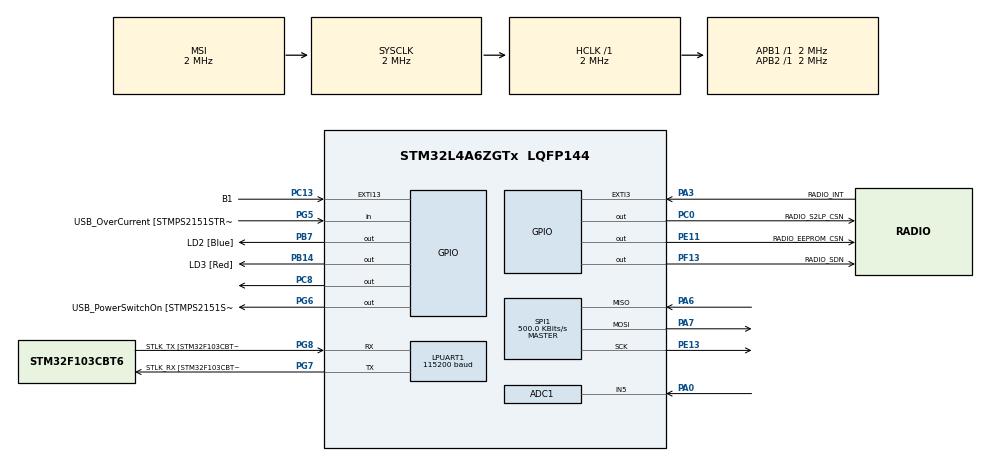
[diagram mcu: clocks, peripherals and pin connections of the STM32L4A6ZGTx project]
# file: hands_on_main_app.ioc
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ADC1.Channel-0\#ChannelRegularConversion=ADC_CHANNEL_5
ADC1.ClockPrescaler=ADC_CLOCK_ASYNC_DIV10
ADC1.DMAContinuousRequests=ENABLE
ADC1.ExternalTrigConv=ADC_EXTERNALTRIG_T3_TRGO
ADC1.NbrOfConversionFlag=1
ADC1.OffsetNumber-0\#ChannelRegularConversion=ADC_OFFSET_NONE
ADC1.Rank-0\#ChannelRegularConversion=1
ADC1.Resolution=ADC_RESOLUTION_12B
ADC1.SamplingTime-0\#ChannelRegularConversion=ADC_SAMPLETIME_2CYCLES_5
ADC1.master=1
AES.Data\ encryption\ types\ list=AESCBC
AES.DataType=CRYP_DATATYPE_8B
AES.KeySize=CRYP_KEYSIZE_128B
AES.KeyWriteFlag=CRYP_KEY_WRITE_DISABLE
AES.OperatingMode=CRYP_ALGOMODE_ENCRYPT
AES.pKey=00 00 00 00 00 00 00 00 00 00 00 00 00 00 00 00
Dma.ADC1.0.Direction=DMA_PERIPH_TO_MEMORY
Dma.ADC1.0.Instance=DMA1_Channel1
Dma.ADC1.0.MemDataAlignment=DMA_MDATAALIGN_HALFWORD
Dma.ADC1.0.MemInc=DMA_MINC_ENABLE
Dma.ADC1.0.Mode=DMA_CIRCULAR
Dma.ADC1.0.PeriphDataAlignment=DMA_PDATAALIGN_HALFWORD
Dma.ADC1.0.PeriphInc=DMA_PINC_DISABLE
Dma.ADC1.0.Priority=DMA_PRIORITY_LOW
Dma.Request0=ADC1
LPUART1.AutoBaudRateEnableParam=UART_ADVFEATURE_AUTOBAUDRATE_DISABLE
LPUART1.BaudRate=115200
LPUART1.DMADisableonRxErrorParam=UART_ADVFEATURE_DMA_ENABLEONRXERROR
LPUART1.DataInvertParam=UART_ADVFEATURE_DATAINV_DISABLE
LPUART1.MSBFirstParam=UART_ADVFEATURE_MSBFIRST_DISABLE
LPUART1.Mode=UART_MODE_TX_RX
LPUART1.OneBitSampling=UART_ONE_BIT_SAMPLE_DISABLE
LPUART1.OverrunDisableParam=UART_ADVFEATURE_OVERRUN_ENABLE
LPUART1.Parity=UART_PARITY_NONE
LPUART1.RxPinLevelInvertParam=UART_ADVFEATURE_RXINV_DISABLE
LPUART1.StopBits=UART_STOPBITS_1
LPUART1.SwapParam=UART_ADVFEATURE_SWAP_DISABLE
LPUART1.TxPinLevelInvertParam=UART_ADVFEATURE_TXINV_DISABLE
LPUART1.WordLength=UART_WORDLENGTH_8B
Mcu.Family=STM32L4
Mcu.Name=STM32L4A6ZGTx
Mcu.Package=LQFP144
NVIC.AES_IRQn=true\:0\:0\:false\:false\:true\:true\:true\:true
NVIC.DMA1_Channel1_IRQn=true\:1\:0\:true\:false\:true\:false\:true\:true
NVIC.EXTI15_10_IRQn=true\:0\:0\:false\:false\:true\:true\:true\:true
NVIC.EXTI3_IRQn=true\:0\:0\:false\:false\:true\:true\:true\:true
NVIC.PriorityGroup=NVIC_PRIORITYGROUP_4
NVIC.TIM3_IRQn=true\:0\:0\:true\:false\:true\:true\:true\:true
PA0.Signal=ADCx_IN5
PA10.GPIO_Label=USB_ID
PA10.Signal=USB_OTG_FS_ID
PA11.GPIO_Label=USB_DM
PA11.Signal=USB_OTG_FS_DM
PA12.GPIO_Label=USB_DP
PA12.Signal=USB_OTG_FS_DP
PA13\ (JTMS/SWDIO).GPIO_Label=TMS
PA13\ (JTMS/SWDIO).Mode=Trace_Asynchronous_SW
PA13\ (JTMS/SWDIO).Signal=SYS_JTMS-SWDIO
PA14\ (JTCK/SWCLK).GPIO_Label=TCK
PA14\ (JTCK/SWCLK).Mode=Trace_Asynchronous_SW
PA14\ (JTCK/SWCLK).Signal=SYS_JTCK-SWCLK
PA3.GPIO_Label=RADIO_INT
PA3.GPIO_ModeDefaultEXTI=GPIO_MODE_IT_FALLING
PA3.Signal=GPXTI3
PA6.Mode=Full_Duplex_Master
PA6.Signal=SPI1_MISO
PA7.Mode=Full_Duplex_Master
PA7.Signal=SPI1_MOSI
PA8.GPIO_Label=USB_SOF [TP1]
PA8.Signal=USB_OTG_FS_SOF
PA9.GPIO_Label=USB_VBUS
PA9.Signal=USB_OTG_FS_VBUS
PB14.GPIO_Label=LD3 [Red]
PB14.Signal=GPIO_Output
PB3\ (JTDO/TRACESWO).GPIO_Label=SWO
PB3\ (JTDO/TRACESWO).Mode=Trace_Asynchronous_SW
PB3\ (JTDO/TRACESWO).Signal=SYS_JTDO-SWO
PB7.GPIO_Label=LD2 [Blue]
PB7.Signal=GPIO_Output
PC0.GPIO_Label=RADIO_S2LP_CSN
PC0.GPIO_Speed=GPIO_SPEED_FREQ_VERY_HIGH
PC0.PinState=GPIO_PIN_SET
PC0.Signal=GPIO_Output
PC13.GPIO_Label=B1
PC13.GPIO_ModeDefaultEXTI=GPIO_MODE_IT_RISING
PC13.Signal=GPXTI13
PC14-OSC32_IN\ (PC14).Mode=LSE-External-Oscillator
PC14-OSC32_IN\ (PC14).Signal=RCC_OSC32_IN
PC15-OSC32_OUT\ (PC15).Mode=LSE-External-Oscillator
PC15-OSC32_OUT\ (PC15).Signal=RCC_OSC32_OUT
PC8.Signal=GPIO_Output
PE11.GPIO_Label=RADIO_EEPROM_CSN
PE11.GPIO_Speed=GPIO_SPEED_FREQ_VERY_HIGH
PE11.PinState=GPIO_PIN_SET
PE11.Signal=GPIO_Output
PE13.Mode=Full_Duplex_Master
PE13.Signal=SPI1_SCK
PF13.GPIO_Label=RADIO_SDN
PF13.GPIO_Speed=GPIO_SPEED_FREQ_VERY_HIGH
PF13.PinState=GPIO_PIN_SET
PF13.Signal=GPIO_Output
PG5.GPIO_Label=USB_OverCurrent [STMPS2151STR_FAULT]
PG5.Signal=GPIO_Input
PG6.GPIO_Label=USB_PowerSwitchOn [STMPS2151STR_EN]
PG6.Signal=GPIO_Output
PG7.GPIO_Label=STLK_RX [STM32F103CBT6_PA3]
PG7.Mode=Asynchronous
PG7.Signal=LPUART1_TX
PG8.GPIO_Label=STLK_TX [STM32F103CBT6_PA2]
PG8.Mode=Asynchronous
PG8.Signal=LPUART1_RX
PH1-OSC_OUT\ (PH1).Signal=RCC_OSC_OUT
ProjectManager.HeapSize=0x200
ProjectManager.StackSize=0x400
ProjectManager.TargetToolchain=STM32CubeIDE
RCC.ADCCLockSelection=RCC_ADCCLKSOURCE_SYSCLK
RCC.ADCFreq_Value=2000000
RCC.AHBFreq_Value=2000000
RCC.APB1Freq_Value=2000000
RCC.APB1TimFreq_Value=2000000
RCC.APB2Freq_Value=2000000
RCC.APB2TimFreq_Value=2000000
RCC.CortexFreq_Value=2000000
RCC.FLatency=FLASH_LATENCY_0
RCC.FLatency-AdvancedSettings=FLASH_LATENCY_0
RCC.HCLKFreq_Value=2000000
RCC.HSE_VALUE=8000000
RCC.HSI48_VALUE=48000000
RCC.HSI_VALUE=16000000
RCC.LPUART1CLockSelection=RCC_LPUART1CLKSOURCE_SYSCLK
RCC.MSIClockRange=RCC_MSIRANGE_5
RCC.MSI_VALUE=2000000
RCC.PLLN=24
RCC.PLLSAI1N=24
RCC.SYSCLKFreq_VALUE=2000000
RCC.USBFreq_Value=24000000
RCC.VCOOutputFreq_Value=48000000
RCC.VDD_VALUE=1.8
SH.ADCx_IN5.0=ADC1_IN5,IN5-Single-Ended
SPI1.BaudRatePrescaler=SPI_BAUDRATEPRESCALER_4
SPI1.CalculateBaudRate=500.0 KBits/s
SPI1.DataSize=SPI_DATASIZE_8BIT
SPI1.Direction=SPI_DIRECTION_2LINES
SPI1.Mode=SPI_MODE_MASTER
SPI1.VirtualType=VM_MASTER
TIM3.Period=1
TIM3.Prescaler=126
TIM3.TIM_MasterOutputTrigger=TIM_TRGO_UPDATE
VP_AES_VS_AES.Mode=AES_Activate
VP_SYS_VS_LPOM.Mode=PowerOptimisation
VP_TIM3_VS_ClockSourceINT.Mode=Internal
board=NUCLEO-L4A6ZG

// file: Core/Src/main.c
/* USER CODE BEGIN Header */
/**
  ******************************************************************************
  * @file           : main.c
  * @brief          : Main program body
  ******************************************************************************
  * @attention
  *
  * <h2><center>&copy; Copyright (c) 2021 STMicroelectronics.
  * All rights reserved.</center></h2>
  *
  * This software component is licensed by ST under BSD 3-Clause license,
  * the "License"; You may not use this file except in compliance with the
  * License. You may obtain a copy of the License at:
  *                        opensource.org/licenses/BSD-3-Clause
  *
  ******************************************************************************
  */
/* USER CODE END Header */
#include "main.h"
#include "adc.h"
#include "aes.h"
#include "dma.h"
#include "spi.h"
#include "tim.h"
#include "gpio.h"

/* USER CODE BEGIN Includes */
#include <stdio.h>
#include <string.h>
#include "arm_math.h"
#include "adc_dblbuf.h"
#include "retarget.h"
#include "s2lp.h"
#include "spectrogram.h"
#include "eval_radio.h"
#include "packet.h"
#include "config.h"
#include "utils.h"
#include "usart.h"

/* USER CODE END Includes */

/* USER CODE BEGIN PV */

volatile uint8_t btn_press;

/* USER CODE END PV */

void SystemClock_Config(void);

/* USER CODE BEGIN 0 */

void HAL_GPIO_EXTI_Callback(uint16_t GPIO_Pin)
{
	if (GPIO_Pin == B1_Pin) {
		btn_press = 1;
	}
	else if (GPIO_Pin == RADIO_INT_Pin)
		S2LP_IRQ_Handler();
}

static void acquire_and_send_packet() {
	if (StartADCAcq(N_MELVECS) != HAL_OK) {
		DEBUG_PRINT("Error while enabling the DMA\r\n");
	}
	while (!IsADCFinished()) {
		HAL_PWR_EnterSLEEPMode(PWR_LOWPOWERREGULATOR_ON, PWR_STOPENTRY_WFI);
	}
}

void run(void)
{

#if BYPASS_BTN_PRESS
	while (1){
	  acquire_and_send_packet();
	}
#else
	btn_press = 0;
	while (1){
		while (!btn_press) {
			  HAL_GPIO_WritePin(GPIOB, LD2_Pin, GPIO_PIN_SET);
			  HAL_Delay(200);
			  HAL_GPIO_WritePin(GPIOB, LD2_Pin, GPIO_PIN_RESET);
			  HAL_Delay(200);
		}
		btn_press = 0;
		#if (CONTINUOUS_ACQ == 1)
			  while (!btn_press) {
				  acquire_and_send_packet();
			  }
			  btn_press = 0;
		#elif (CONTINUOUS_ACQ == 0)
			  acquire_and_send_packet();
		#else
			#error "Wrong value for CONTINUOUS_ACQ."
		#endif
	}
#endif
}

/* USER CODE END 0 */

int main(void)
{

  /* USER CODE BEGIN 1 */

  DEBUG_PRINT("Hello\n");

  /* USER CODE END 1 */

  /* MCU Configuration--------------------------------------------------------*/

  /* Reset of all peripherals, Initializes the Flash interface and the Systick. */
  HAL_Init();

  /* Configure the system clock */
  SystemClock_Config();

  /* USER CODE BEGIN SysInit */
  MX_LPUART1_UART_Init();
  RetargetInit(&hlpuart1);
  DEBUG_PRINT("Hello world\r\n");

  HAL_GPIO_WritePin(GPIOC, GPIO_PIN_8, GPIO_PIN_RESET);
  HAL_PWREx_EnableLowPowerRunMode();

  /* USER CODE END SysInit */

  /* Initialize all configured peripherals */
  MX_GPIO_Init();
  MX_DMA_Init();
  MX_SPI1_Init();
  MX_TIM3_Init();
  MX_ADC1_Init();
  MX_AES_Init();
  /* USER CODE BEGIN 2 */

#if ENABLE_RADIO
  // Enable S2LP Radio
  HAL_StatusTypeDef err = S2LP_Init(&hspi1);
  if (err)  {
	  DEBUG_PRINT("[S2LP] Error while initializing: %u\r\n", err);
	  Error_Handler();
  } else {
	  DEBUG_PRINT("[S2LP] Init OK\r\n");

  }
#endif

  if (HAL_ADCEx_Calibration_Start(&hadc1, ADC_SINGLE_ENDED) != HAL_OK) {
	  DEBUG_PRINT("Error while calibrating the ADC\r\n");
	  Error_Handler();
  }
  if (HAL_TIM_Base_Start(&htim3) != HAL_OK) {
	  DEBUG_PRINT("Error while enabling timer TIM3\r\n");
	  Error_Handler();
  }

  /* USER CODE END 2 */

  /* Infinite loop */
  /* USER CODE BEGIN WHILE */
#if (RUN_CONFIG == MAIN_APP)
  run();
#elif (RUN_CONFIG == EVAL_RADIO)
  eval_radio();
#else
#error "Wrong value for RUN_CONFIG."
#endif

    /* USER CODE END WHILE */

}

void SystemClock_Config(void)
{
  RCC_OscInitTypeDef RCC_OscInitStruct = {0};
  RCC_ClkInitTypeDef RCC_ClkInitStruct = {0};

  /** Configure the main internal regulator output voltage
  */
  if (HAL_PWREx_ControlVoltageScaling(PWR_REGULATOR_VOLTAGE_SCALE1) != HAL_OK)
  {
    Error_Handler();
  }

  /** Initializes the RCC Oscillators according to the specified parameters
  * in the RCC_OscInitTypeDef structure.
  */
  RCC_OscInitStruct.OscillatorType = RCC_OSCILLATORTYPE_MSI;
  RCC_OscInitStruct.MSIState = RCC_MSI_ON;
  RCC_OscInitStruct.MSICalibrationValue = 0;
  RCC_OscInitStruct.MSIClockRange = RCC_MSIRANGE_5;
  RCC_OscInitStruct.PLL.PLLState = RCC_PLL_NONE;
  if (HAL_RCC_OscConfig(&RCC_OscInitStruct) != HAL_OK)
  {
    Error_Handler();
  }

  /** Initializes the CPU, AHB and APB buses clocks
  */
  RCC_ClkInitStruct.ClockType = RCC_CLOCKTYPE_HCLK|RCC_CLOCKTYPE_SYSCLK
                              |RCC_CLOCKTYPE_PCLK1|RCC_CLOCKTYPE_PCLK2;
  RCC_ClkInitStruct.SYSCLKSource = RCC_SYSCLKSOURCE_MSI;
  RCC_ClkInitStruct.AHBCLKDivider = RCC_SYSCLK_DIV1;
  RCC_ClkInitStruct.APB1CLKDivider = RCC_HCLK_DIV1;
  RCC_ClkInitStruct.APB2CLKDivider = RCC_HCLK_DIV1;

  if (HAL_RCC_ClockConfig(&RCC_ClkInitStruct, FLASH_LATENCY_0) != HAL_OK)
  {
    Error_Handler();
  }
}

void Error_Handler(void)
{
  /* USER CODE BEGIN Error_Handler_Debug */
  __disable_irq();
  DEBUG_PRINT("Entering error Handler\r\n");
  while (1)
  {
	  // Blink LED3 (red)
	  HAL_GPIO_WritePin(GPIOB, LD3_Pin, GPIO_PIN_SET);
	  for (volatile int i=0; i < SystemCoreClock/200; i++);
	  HAL_GPIO_WritePin(GPIOB, LD3_Pin, GPIO_PIN_RESET);
	  for (volatile int i=0; i < SystemCoreClock/200; i++);
  }
  /* USER CODE END Error_Handler_Debug */
}

#ifdef  USE_FULL_ASSERT
/**
  * @brief  Reports the name of the source file and the source line number
  *         where the assert_param error has occurred.
  * @param  file: pointer to the source file name
  * @param  line: assert_param error line source number
  * @retval None
  */
void assert_failed(uint8_t *file, uint32_t line)
{
  /* USER CODE BEGIN 6 */
  /* User can add his own implementation to report the file name and line number,
     ex: DEBUG_PRINT("Wrong parameters value: file %s on line %d\r\n", file, line) */
  /* USER CODE END 6 */
}
#endif /* USE_FULL_ASSERT */
